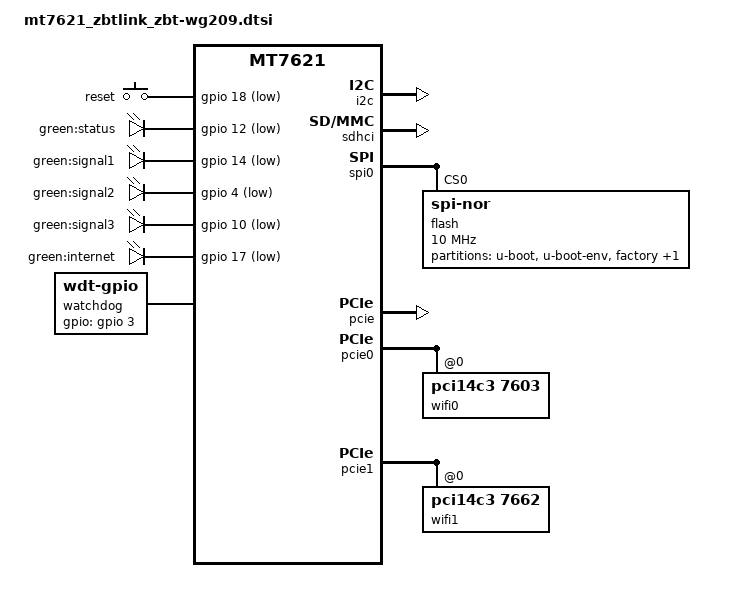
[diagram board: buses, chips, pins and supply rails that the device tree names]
#include "mt7621.dtsi"

#include <dt-bindings/gpio/gpio.h>
#include <dt-bindings/input/input.h>

/ {
	compatible = "zbtlink,zbt-wg209", "mediatek,mt7621-soc";

	aliases {
		led-boot = &led_status;
		led-failsafe = &led_status;
		led-running = &led_status;
		led-upgrade = &led_status;
	};

	chosen {
		bootargs = "console=ttyS0,115200";
	};

	keys {
		compatible = "gpio-keys-polled";

		reset {
			label = "reset";
			gpios = <&gpio 18 GPIO_ACTIVE_LOW>;
			linux,code = <KEY_RESTART>;
		};
	};

	leds {
		compatible = "gpio-leds";

		led_status: status {
			label = "green:status";
			gpios = <&gpio 12 GPIO_ACTIVE_LOW>;
		};
		
		signal1 {
			label = "green:signal1";
			gpios = <&gpio 14 GPIO_ACTIVE_LOW>;
		};	
		signal2 {
			label = "green:signal2";
			gpios = <&gpio 4 GPIO_ACTIVE_LOW>;
		};	
		signal3 {
			label = "green:signal3";
			gpios = <&gpio 10 GPIO_ACTIVE_LOW>;
		};	
		internet {
			label = "green:internet";
			gpios = <&gpio 17 GPIO_ACTIVE_LOW>;
		};
	};
	
	watchdog {
		compatible = "linux,wdt-gpio";
		gpios = <&gpio 3 GPIO_ACTIVE_HIGH>;
		hw_algo = "toggle";
		/* hw_margin_ms is actually ~120s but driver limits it to 60s */
		hw_margin_ms = <60000>;
		always-running;
	};
};

&i2c {
	status = "okay";
};

&sdhci {
	status = "okay";
};

&spi0 {
	status = "okay";

	flash@0 {
		compatible = "jedec,spi-nor";
		reg = <0>;
		spi-max-frequency = <10000000>;

		partitions {
			compatible = "fixed-partitions";
			#address-cells = <1>;
			#size-cells = <1>;

			partition@0 {
				label = "u-boot";
				reg = <0x0 0x30000>;
				read-only;
			};

			partition@30000 {
				label = "u-boot-env";
				reg = <0x30000 0x10000>;
				read-only;
			};

			factory: partition@40000 {
				label = "factory";
				reg = <0x40000 0x10000>;
				read-only;
			};

			firmware: partition@50000 {
				compatible = "denx,uimage";
				label = "firmware";
			};
		};
	};
};

&pcie {
	status = "okay";
};

&pcie0 {
	wifi0: wifi@0,0 {
		compatible = "pci14c3,7603";
		reg = <0x0000 0 0 0 0>;
		mediatek,mtd-eeprom = <&factory 0x0000>;
	};
};

&pcie1 {
	wifi1: wifi@0,0 {
		compatible = "pci14c3,7662";
		reg = <0x0000 0 0 0 0>;
		mediatek,mtd-eeprom = <&factory 0x8000>;
		ieee80211-freq-limit = <5000000 6000000>;

		led {
			led-sources = <2>;
		};
	};
};

&gmac0 {
	mtd-mac-address = <&factory 0xe000>;
};

&switch0 {
	ports {
		port@0 {
			status = "okay";
			label = "lan1";
		};

		port@1 {
			status = "okay";
			label = "lan2";
		};

		port@2 {
			status = "okay";
			label = "lan3";
		};

		port@3 {
			status = "okay";
			label = "lan4";
		};

		port@4 {
			status = "okay";
			label = "wan";
			mtd-mac-address = <&factory 0xe000>;
			mtd-mac-address-increment = <1>;
		};
	};
};

&state_default {
	gpio {
		groups = "wdt", "rgmii2";
		function = "gpio";
	};
};
